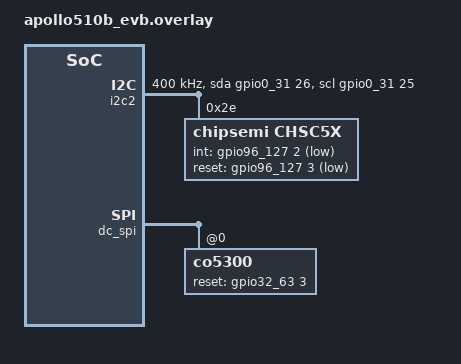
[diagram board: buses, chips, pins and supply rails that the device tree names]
/*
 * Copyright (c) 2025 Ambiq Micro Inc.
 *
 * SPDX-License-Identifier: Apache-2.0
 */
#include <apollo510/ambiq-apollo510-pinmux.h>
#include <zephyr/dt-bindings/display/panel.h>
#include <zephyr/dt-bindings/i2c/i2c.h>

&iom2 {
	cmdq-buffer-location = "SRAM_NO_CACHE";
	cmdq-buffer-size = <256>;

	i2c2: i2c {
		pinctrl-0 = <&i2c2_default>;
		pinctrl-1 = <&i2c2_sleep>;
		pinctrl-names = "default", "sleep";
		clock-frequency = <I2C_BITRATE_FAST>;
		scl-gpios = <&gpio0_31 25 (GPIO_OPEN_DRAIN | GPIO_PULL_UP)>;
		sda-gpios = <&gpio0_31 26 (GPIO_OPEN_DRAIN | GPIO_PULL_UP)>;
		status = "okay";

		chsc5x: chsc5x@2e {
			compatible = "chipsemi,chsc5x";
			reg = <0x2e>;
			int-gpios = <&gpio96_127 2 GPIO_ACTIVE_LOW>;
			reset-gpios = <&gpio96_127 3 GPIO_ACTIVE_LOW>;
		};
	};
};

&pinctrl {
	/* QSPI pinctrl */
	dc_spi_default: dc_spi_default {
		group1 {
			pinmux = <DISP_TE_P33>,
				 <DISP_QSPI_D0_P100>,
				 <DISP_QSPI_D1_P101>,
				 <DISP_QSPI_SCK_P102>,
				 <DISP_QSPI_D2_P103>,
				 <DISP_QSPI_D3_P104>;
			drive-strength = "0.5";
		};

		group2 {
			pinmux = <NCE31_P31>;
			ambiq,nce-src = <0x33>;
			drive-strength = "0.5";
		};
	};
	/* SPI/DSPI pinctrl,co5300 couldn't support SPI.
	 * dc_spi_default: dc_spi_default {
	 *	group1 {
	 *		pinmux = <DISP_TE_P33>,
	 *			<DISP_SPI_SD_P100>,
	 *			<DISP_SPI_DCX_P101>,
	 *			<DISP_SPI_SCK_P102>,
	 *		drive-strength = "0.5";
	 *	};
	 *	group2 {
	 *		pinmux = <NCE31_P31>;
	 *		ambiq,nce-src = <0x32>;
	 *		drive-strength = "0.5";
	 *	};
	 *};
	 */
};

&dc_spi {
	co5300: co5300@0 {
		reset-gpios = <&gpio32_63 3 GPIO_PULL_UP>;
	};
};

&gpio0_31 {
	status = "okay";
};

&gpio32_63 {
	status = "okay";
};

&gpio96_127 {
	status = "okay";
};

/* SPI variant doesn't use mipi_dsi, so no mipi_dsi config here */
